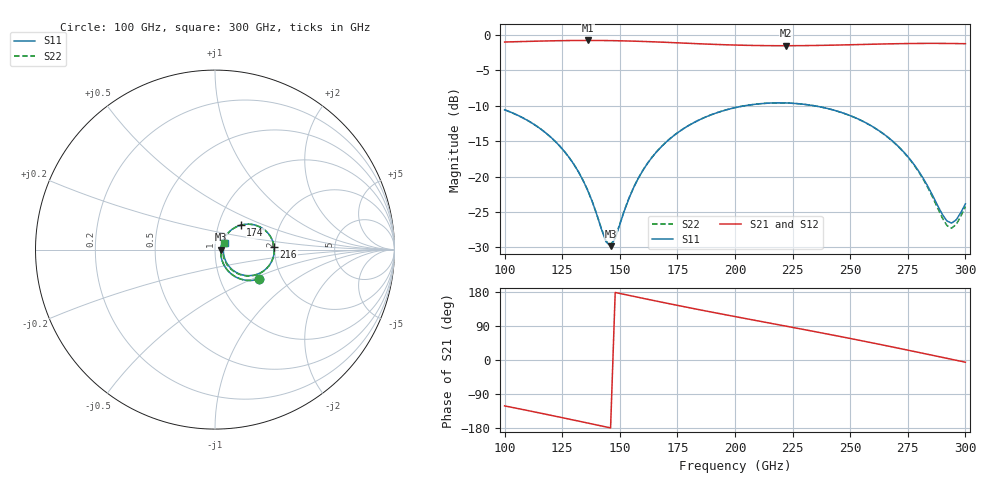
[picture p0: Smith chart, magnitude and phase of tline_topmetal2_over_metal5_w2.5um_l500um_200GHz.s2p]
#  GHZ S DB R 50
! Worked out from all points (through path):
!   101 points, 100 GHz to 300 GHz, reference 50 ohm
!   highest |S21| = -0.82 dB at 136 GHz (marker M1); lowest = -1.6 dB at 222 GHz (marker M2)
!   group delay of S21, straight-line fit = 3.36 ps
!   lowest |S11| = -29.8 dB at 146 GHz (marker M3), VSWR 1.07, Z = 53.3 + j0.0117 ohm
!   |S11| at or under -10 dB: start of sweep to 204.7 GHz; 233.9 GHz to end of sweep
!   |S22| runs from -29.7 to -9.6 dB; largest |S21 - S12| = 1.5e-15
!   S11 on the Smith chart (normalised r, x): 100 GHz: 1.53, -0.55; 174 GHz: 1.28, +0.36; 216 GHz: 1.98, +0.07; 300 GHz: 1.11, +0.08
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100  -10.59 -33.6  -1.04 -121.1  -1.04 -121.1  -10.60 -33.6
120  -14.44 -53.1  -0.88 -145.8  -0.88 -145.8  -14.45 -53.0
128  -17.32 -58.7  -0.84 -156.0  -0.84 -156.0  -17.32 -58.6
134  -20.51 -59.6  -0.83 -163.7  -0.83 -163.7  -20.51 -59.4
136  -21.90 -58.4  -0.82 -166.3  -0.82 -166.3  -21.89 -58.1
144  -29.20 -23.4  -0.84 -176.6  -0.84 -176.6  -29.09 -23.0
146  -29.82 0.2  -0.85 -179.2  -0.85 -179.2  -29.67 0.3
148  -28.70 22.1  -0.86 178.2  -0.86 178.2  -28.58 21.8
158  -20.27 52.1  -0.94 165.4  -0.94 165.4  -20.25 51.7
168  -15.81 48.4  -1.06 152.8  -1.06 152.8  -15.80 48.1
174  -14.09 43.6  -1.14 145.4  -1.14 145.4  -14.08 43.4
186  -11.79 32.5  -1.31 131.0  -1.31 131.0  -11.79 32.3
200  -10.30 18.7  -1.47 114.6  -1.47 114.6  -10.29 18.4
216  -9.64 2.6  -1.56 96.3  -1.56 96.3  -9.64 2.3
222  -9.63 -3.5  -1.57 89.5  -1.57 89.5  -9.64 -3.8
234  -10.01 -15.5  -1.54 75.7  -1.54 75.7  -10.01 -15.8
252  -11.68 -33.0  -1.42 54.4  -1.42 54.4  -11.69 -33.5
268  -14.89 -46.3  -1.30 34.8  -1.30 34.8  -14.93 -47.3
280  -19.38 -49.5  -1.24 19.7  -1.24 19.7  -19.48 -51.2
292  -26.27 -14.6  -1.25 4.4  -1.25 4.4  -26.91 -15.9
296  -26.11 14.3  -1.26 -0.7  -1.26 -0.7  -26.76 15.6
300  -23.85 34.1  -1.28 -5.8  -1.28 -5.8  -24.24 36.4
